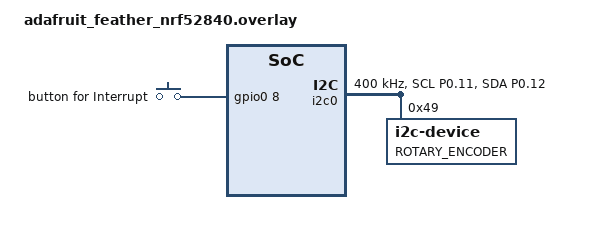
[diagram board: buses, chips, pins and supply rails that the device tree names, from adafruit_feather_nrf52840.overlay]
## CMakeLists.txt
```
# SPDX-License-Identifier: Apache-2.0

cmake_minimum_required(VERSION 3.20.0)
find_package(Zephyr REQUIRED HINTS $ENV{ZEPHYR_BASE})
project(blinky)

target_sources(app PRIVATE src/main.c)
target_include_directories(app PRIVATE drivers/include)

file(GLOB driversSources drivers/src/*.c)
target_sources(app PRIVATE ${driversSources})
```

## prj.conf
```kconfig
# Logger module
CONFIG_LOG=y
CONFIG_GPIO=y

#RTT 
CONFIG_USE_SEGGER_RTT=y
CONFIG_RTT_CONSOLE=y
CONFIG_UART_CONSOLE=n

#Enable Float
CONFIG_NEWLIB_LIBC=y
CONFIG_FPU=y
CONFIG_CBPRINTF_FP_SUPPORT=y

CONFIG_I2C=y
```

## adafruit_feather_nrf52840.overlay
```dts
&i2c0 {
	status = "okay";
	pinctrl-0 = <&i2c1_default>;
	pinctrl-1 = <&i2c1_sleep>;
    pinctrl-names = "default", "sleep";
	compatible = "nordic,nrf-twi";
	clock-frequency = <I2C_BITRATE_FAST>;
    // zephyr,concat-buf-size = <4096>;


 
	rotary_encoder: seesaw@49 {
        compatible = "i2c-device";
        reg = <0x49>;                    // I2C address of the rotary encoder
        label = "ROTARY_ENCODER";        // Custom label for easy binding in code
    };
};

&pinctrl {
	i2c1_default: i2c1_default {
		group1 {
			psels = <NRF_PSEL(TWIM_SCL, 0, 11)>, <NRF_PSEL(TWIM_SDA, 0, 12)>;
			nordic,drive-mode = <NRF_DRIVE_S0D1>;
		};
	};
	i2c1_sleep: i2c1_sleep {
        group1 {
            psels = <NRF_PSEL(TWIM_SCL, 0, 11)>, <NRF_PSEL(TWIM_SDA, 0, 12)>;
            nordic,drive-mode = <NRF_DRIVE_S0D1>;
            low-power-enable;
        };
    };
};

/{
	ROTARY_ENCODER_INTERRUPT_PIN {
		compatible = "gpio-keys";
		interrupt_rotencoder: interrupt_pin {
			gpios = <&gpio0 8 (GPIO_PULL_UP)>;
			label = "button for Interrupt";
		};
	};

	aliases {
		interruptpin = &interrupt_rotencoder;
	};
};
```

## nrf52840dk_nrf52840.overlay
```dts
&i2c0 {
    status = "okay";
	pinctrl-0 = <&i2c1_default>;
	pinctrl-1 = <&i2c1_sleep>;
    pinctrl-names = "default", "sleep";
	compatible = "nordic,nrf-twi";
	clock-frequency = <I2C_BITRATE_FAST>;
	force_sens_1: nau7802_loadcell@2A {
        compatible = "nuvoton,nau7802_loadcell";
        reg = <0x2A>;  // I2C address of the sensor
        label = "NAU7802_1";
        drdy-gpios = <&gpio0 26 GPIO_ACTIVE_HIGH>; // Data ready GPIO pin
        conversions-per-second = <320>; // SPS
        gain = <128>;
    };
};

&pinctrl {
	i2c1_default: i2c1_default {
		group1 {
			psels = <NRF_PSEL(TWIM_SCL, 0, 11)>, <NRF_PSEL(TWIM_SDA, 0, 12)>;
			nordic,drive-mode = <NRF_DRIVE_S0D1>;
		};
	};
	i2c1_sleep: i2c1_sleep {
        group1 {
            psels = <NRF_PSEL(TWIM_SCL, 0, 11)>, <NRF_PSEL(TWIM_SDA, 0, 12)>;
            nordic,drive-mode = <NRF_DRIVE_S0D1>;
            low-power-enable;
        };
    };
};


/{
	ROTARY_ENCODER_INTERRUPT_PIN {
		compatible = "gpio-keys";
		interrupt_rotencoder: interrupt_pin {
			gpios = <&gpio1 8 (GPIO_PULL_UP)>;
			label = "button for Interrupt";
		};
	};

	aliases {
		interruptpin = &interrupt_rotencoder;
	};
};
```

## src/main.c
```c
/*
 * Copyright (c) 2016 Intel Corporation
 *
 * SPDX-License-Identifier: Apache-2.0
 */

#include <zephyr/kernel.h>
#include <zephyr/drivers/gpio.h>
#include <zephyr/logging/log.h>
#include "rotary_encoder.h"

LOG_MODULE_REGISTER(ENCODER_DRIVER);


void main()
{
	int ret;
	gpios_interrupt_init();
	ret = rot_encoder_init();
	if (ret != 0)
	{
		LOG_ERR("Failed to initialize rotary encoder");
		// return;
	}
	LOG_INF("Rotary encoder is ready.\n");
		/*enable Interrupts for Encoder*/
	ret = enable_encoder_interrupt(0); // Enable interrupt for encoder 0
	if (ret < 0)
	{
		LOG_ERR("Failed to enable encoder interrupt");
	}
	else
	{
		LOG_INF("Encoder interrupt enabled successfully");
	}
	k_msleep(500);
	/*enable Interrupts for GPIO's*/
	if (enable_button_interrupts(true) < 0)
	{
		LOG_ERR("Failed to enable button interrupts");
	}
}
```
